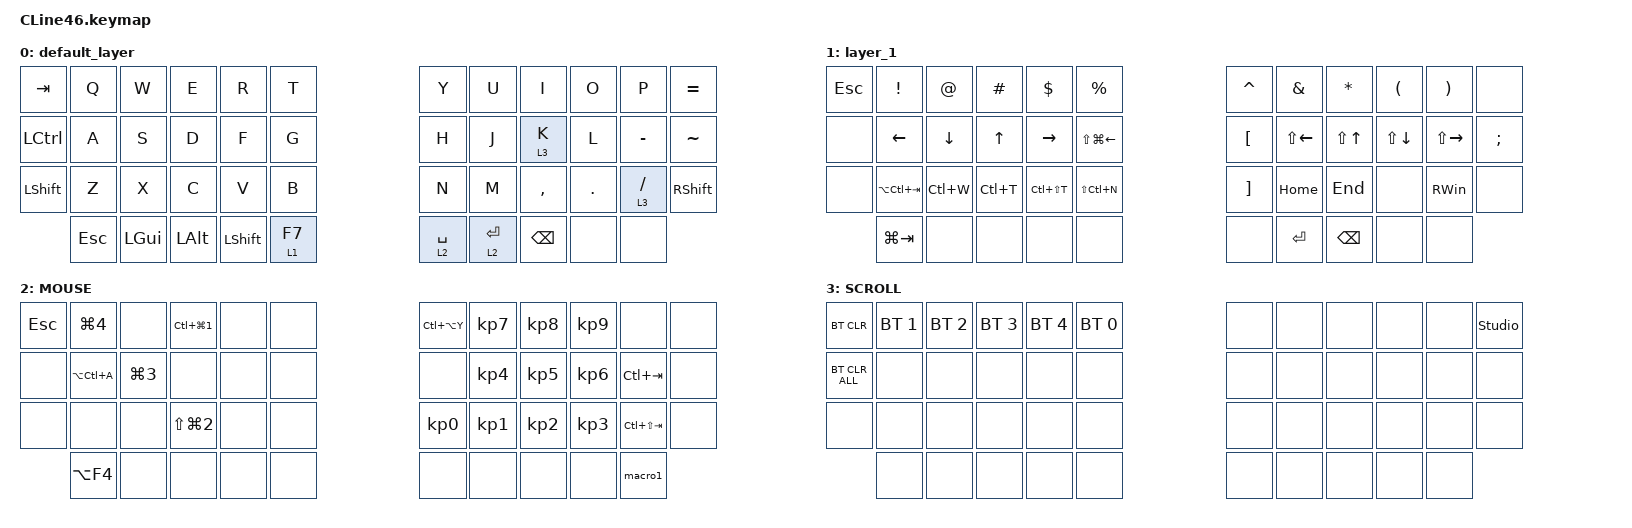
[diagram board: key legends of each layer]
#include <input/processors.dtsi>
#include <dt-bindings/zmk/input_transform.h>
#include <zephyr/dt-bindings/input/input-event-codes.h>
#include <behaviors.dtsi>
#include <dt-bindings/zmk/bt.h>
#include <dt-bindings/zmk/keys.h>
#include <dt-bindings/zmk/pointing.h>

&mt {
    flavor = "balanced";
    quick-tap-ms = <0>;
};

/ {
    combos {
        compatible = "zmk,combos";

        lclk_r {
            bindings = <&mkp LCLK>;
            key-positions = <19 20>;
            timeout-ms = <40>;
            require-prior-idle-ms = <80>;
            slow-release;
            layers = <1 2 3 0>;
        };

        rclk_r {
            bindings = <&mkp RCLK>;
            key-positions = <21 20>;
            timeout-ms = <40>;
            require-prior-idle-ms = <80>;
            slow-release;
            layers = <1 2 3 0>;
        };

        mclk_r {
            bindings = <&mkp MCLK>;
            key-positions = <21 19>;
            timeout-ms = <40>;
            require-prior-idle-ms = <80>;
            slow-release;
            layers = <1 2 3 0>;
        };

        mb5_r {
            bindings = <&mkp MB5>;
            key-positions = <8 9>;
            timeout-ms = <40>;
            require-prior-idle-ms = <80>;
            slow-release;
            layers = <1 2 3 0>;
        };

        mb4_r {
            bindings = <&mkp MB4>;
            key-positions = <32 33>;
            timeout-ms = <40>;
            require-prior-idle-ms = <80>;
            slow-release;
            layers = <1 2 3 0>;
        };

        rclk_l {
            bindings = <&mkp RCLK>;
            key-positions = <15 16>;
            timeout-ms = <40>;
            slow-release;
            require-prior-idle-ms = <80>;
            layers = <1 2 3 0>;
        };

        lclk_l {
            bindings = <&mkp LCLK>;
            key-positions = <14 15>;
            timeout-ms = <40>;
            slow-release;
            require-prior-idle-ms = <80>;
            layers = <1 2 3 0>;
        };

        mclk_l {
            bindings = <&mkp MCLK>;
            key-positions = <14 16>;
            timeout-ms = <40>;
            slow-release;
            require-prior-idle-ms = <80>;
            layers = <1 2 3 0>;
        };

        mb5_l {
            bindings = <&mkp MB5>;
            key-positions = <26 27>;
            timeout-ms = <40>;
            slow-release;
            require-prior-idle-ms = <80>;
            layers = <1 2 3 0>;
        };

        mb4_l {
            bindings = <&mkp MB4>;
            key-positions = <2 3>;
            timeout-ms = <40>;
            slow-release;
            require-prior-idle-ms = <80>;
            layers = <1 2 3 0>;
        };
    };

    macros {
        to_layer_0: to_layer_0 {
            compatible = "zmk,behavior-macro-one-param";
            #binding-cells = <1>;
            bindings = <&to 0 &macro_param_1to1 &kp MACRO_PLACEHOLDER>;
            label = "TO_LAYER_0";
        };

        macro1: macro1 {
            compatible = "zmk,behavior-macro";
            #binding-cells = <0>;
            bindings = <&kp KP_NUMBER_3 &kp LS(D) &kp LS(U) &kp LS(A) &kp N &kp KP_NUMBER_4 &kp KP_NUMBER_2 &kp H &kp KP_NUMBER_8 &kp KP_NUMBER_7 &kp KP_NUMBER_3 &kp KP_NUMBER_3>;
            label = "MACRO1";
        };
    };

    behaviors {
        lt_to_layer_0: lt_to_layer_0 {
            compatible = "zmk,behavior-hold-tap";
            label = "LAYER_TAP_TO_0";
            bindings = <&mo>, <&to_layer_0>;

            #binding-cells = <2>;
            tapping-term-ms = <200>;
        };
    };

    keymap {
        compatible = "zmk,keymap";

        default_layer {
            bindings = <
&kp TAB     &kp Q    &kp W     &kp E     &kp R           &kp T                                 &kp Y     &kp U  &kp I      &kp O    &kp P        &kp EQUAL
&kp LCTRL   &kp A    &kp S     &kp D     &kp F           &kp G                                 &kp H     &kp J  &lt 3 K    &kp L    &kp MINUS    &kp TILDE
&kp LSHIFT  &kp Z    &kp X     &kp C     &kp V           &kp B                                 &kp N     &kp M  &kp COMMA  &kp DOT  &lt 3 SLASH  &kp RSHIFT
            &kp ESC  &kp LGUI  &kp LALT  &kp LEFT_SHIFT  &lt 1 F7  &lt 2 SPACE    &lt 2 ENTER  &kp BSPC                    &none    &none
            >;
        };

        layer_1 {
            bindings = <
&kp ESCAPE  &kp EXCLAMATION  &kp AT          &kp HASH      &kp DOLLAR       &kp PERCENT                               &kp CARET          &kp AMPERSAND       &kp STAR          &kp LEFT_PARENTHESIS  &kp RIGHT_PARENTHESIS  &none
&none       &kp LEFT_ARROW   &kp DOWN_ARROW  &kp UP_ARROW  &kp RIGHT_ARROW  &kp LS(LG(LEFT_ARROW))                    &kp LEFT_BRACKET   &kp LS(LEFT_ARROW)  &kp LS(UP_ARROW)  &kp LS(DOWN_ARROW)    &kp LS(RIGHT)          &kp SEMI
&none       &kp LA(LC(TAB))  &kp LC(W)       &kp LC(T)     &kp LC(LS(T))    &kp LS(LC(N))                             &kp RIGHT_BRACKET  &kp HOME            &kp END           &none                 &kp RIGHT_WIN          &none
            &kp LG(TAB)      &none           &none         &none            &none                   &none    &kp RET  &kp BSPC                                                 &none                 &none
            >;
        };

        MOUSE {
            bindings = <
&kp ESCAPE  &kp LG(NUMBER_4)  &none             &kp LC(LG(NUMBER_1))  &none  &none                  &kp LC(LA(Y))  &kp KP_NUMBER_7  &kp KP_NUMBER_8  &kp KP_NUMBER_9  &none            &none
&none       &kp LA(LC(A))     &kp LG(NUMBER_3)  &none                 &none  &none                  &none          &kp KP_NUMBER_4  &kp KP_NUMBER_5  &kp KP_NUMBER_6  &kp LC(TAB)      &none
&none       &none             &none             &kp LS(LG(NUMBER_2))  &none  &none                  &kp KP_N0      &kp KP_NUMBER_1  &kp KP_NUMBER_2  &kp KP_NUMBER_3  &kp LC(LS(TAB))  &none
            &kp LA(F4)        &none             &none                 &none  &none  &none    &none  &none                                            &none            &macro1
            >;
        };

        SCROLL {
            bindings = <
&bt BT_CLR      &bt BT_SEL 1  &bt BT_SEL 2  &bt BT_SEL 3  &bt BT_SEL 4  &bt BT_SEL 0                  &none  &none  &none  &none  &none  &studio_unlock
&bt BT_CLR_ALL  &none         &none         &none         &none         &none                         &none  &none  &none  &none  &none  &none
&none           &none         &none         &none         &none         &none                         &none  &none  &none  &none  &none  &none
                &none         &none         &none         &none         &none         &none    &none  &none                &none  &none
            >;
        };
    };
};
